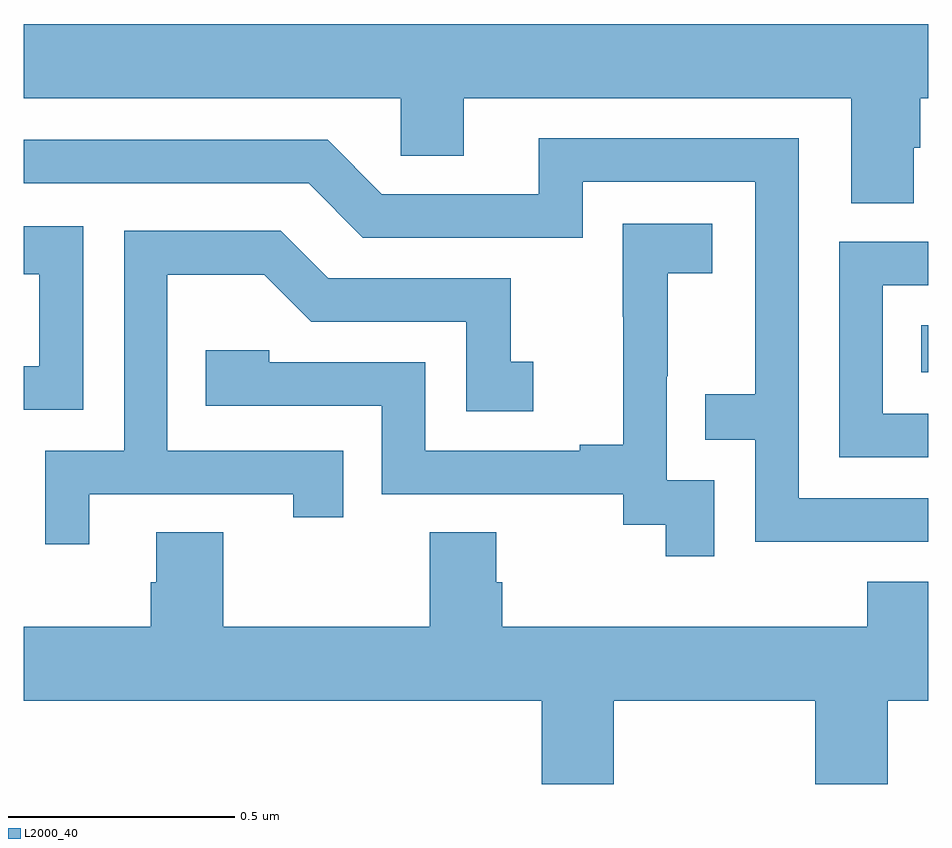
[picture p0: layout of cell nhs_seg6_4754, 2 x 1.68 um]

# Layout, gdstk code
import gdstk
lib = gdstk.Library(unit=1e-6, precision=1e-09)
def R(c, l, rs):  # rectangles x0, y0, x1, y1
    for r in rs: c.add(gdstk.rectangle(r[:2], r[2:], *l))
def P(c, l, *ps):  # polygons
    for p in ps: c.add(gdstk.Polygon(p, *l))
L2000_40 = (2000, 40)

nhs_seg6_4754 = lib.new_cell('nhs_seg6_4754')
R(nhs_seg6_4754, L2000_40, [(175.984,933.41,176,933.514)])
P(nhs_seg6_4754, L2000_40, [(175.968,933.907),(175.982,933.907),(175.982,934.016),(176,934.016),(176,934.18),(174,934.18),(174,934.016),(174.834,934.016),(174.834,933.889),(174.973,933.889),(174.973,934.016),(175.829,934.016),(175.829,933.784),(175.968,933.784)],
  [(176,933.132),(175.713,933.132),(175.713,933.927),(175.139,933.927),(175.139,933.804),(174.792,933.804),(174.672,933.924),(174,933.924),(174,933.828),(174.63,933.828),(174.75,933.708),(175.236,933.708),(175.236,933.831),(175.617,933.831),(175.617,933.362),(175.507,933.362),(175.507,933.261),(175.617,933.261),(175.617,933.036),(176,933.036)],
  [(175.527,933.171),(175.422,933.171),(175.422,933.401),(175.424,933.401),(175.424,933.629),(175.522,933.629),(175.522,933.739),(175.324,933.739),(175.324,933.533),(175.325,933.533),(175.325,933.25),(175.229,933.25),(175.229,933.237),(174.888,933.237),(174.888,933.432),(174.543,933.432),(174.543,933.459),(174.403,933.459),(174.403,933.336),(174.792,933.336),(174.792,933.141),(175.326,933.141),(175.326,933.073),(175.419,933.073),(175.419,933.003),(175.527,933.003)],
  [(174.132,933.733),(174,933.733),(174,933.627),(174.035,933.627),(174.035,933.423),(174,933.423),(174,933.327),(174.132,933.327)],
  [(174.145,933.141),(174.596,933.141),(174.596,933.09),(174.707,933.09),(174.707,933.237),(174.318,933.237),(174.318,933.626),(174.532,933.626),(174.636,933.522),(174.978,933.522),(174.978,933.324),(175.126,933.324),(175.126,933.433),(175.077,933.433),(175.077,933.618),(174.673,933.618),(174.568,933.723),(174.222,933.723),(174.222,933.237),(174.048,933.237),(174.048,933.03),(174.145,933.03)],
  [(176,933.318),(175.899,933.318),(175.899,933.603),(176,933.603),(176,933.699),(175.803,933.699),(175.803,933.222),(176,933.222)],
  [(175.305,932.684),(175.75,932.684),(175.75,932.5),(175.91,932.5),(175.91,932.684),(176,932.684),(176,932.947),(175.865,932.947),(175.865,932.848),(175.058,932.848),(175.058,932.946),(175.045,932.946),(175.045,933.056),(174.898,933.056),(174.898,932.848),(174.441,932.848),(174.441,933.056),(174.293,933.056),(174.293,932.946),(174.281,932.946),(174.281,932.848),(174,932.848),(174,932.684),(175.145,932.684),(175.145,932.5),(175.305,932.5)])

lib.write_gds('nhs_seg6_4754.gds')
